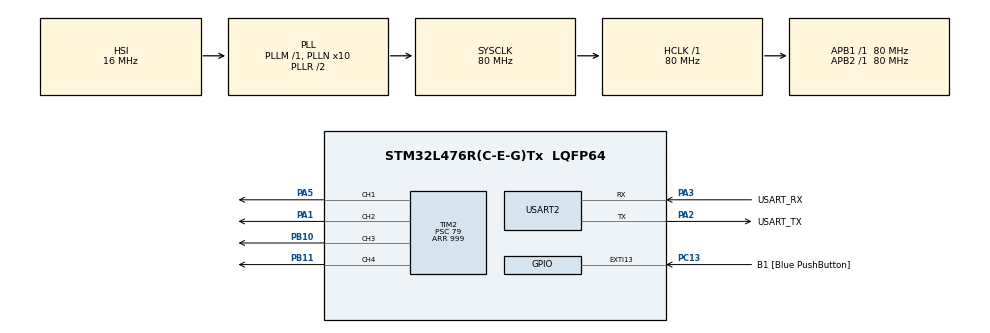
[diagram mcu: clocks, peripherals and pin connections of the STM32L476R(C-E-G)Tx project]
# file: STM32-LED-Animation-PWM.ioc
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Mcu.Family=STM32L4
Mcu.Name=STM32L476R(C-E-G)Tx
Mcu.Package=LQFP64
NVIC.PriorityGroup=NVIC_PRIORITYGROUP_4
PA1.Signal=S_TIM2_CH2
PA13\ (JTMS-SWDIO).GPIO_Label=TMS
PA13\ (JTMS-SWDIO).Mode=Serial_Wire
PA13\ (JTMS-SWDIO).Signal=SYS_JTMS-SWDIO
PA14\ (JTCK-SWCLK).GPIO_Label=TCK
PA14\ (JTCK-SWCLK).Mode=Serial_Wire
PA14\ (JTCK-SWCLK).Signal=SYS_JTCK-SWCLK
PA2.GPIO_Label=USART_TX
PA2.GPIO_Mode=GPIO_MODE_AF_PP
PA2.GPIO_PuPd=GPIO_NOPULL
PA2.GPIO_Speed=GPIO_SPEED_FREQ_VERY_HIGH
PA2.Mode=Asynchronous
PA2.Signal=USART2_TX
PA3.GPIO_Label=USART_RX
PA3.GPIO_Mode=GPIO_MODE_AF_PP
PA3.GPIO_PuPd=GPIO_NOPULL
PA3.GPIO_Speed=GPIO_SPEED_FREQ_VERY_HIGH
PA3.Mode=Asynchronous
PA3.Signal=USART2_RX
PA5.Signal=S_TIM2_CH1
PB10.Signal=S_TIM2_CH3
PB11.Signal=S_TIM2_CH4
PB3\ (JTDO-TRACESWO).GPIO_Label=SWO
PB3\ (JTDO-TRACESWO).Signal=SYS_JTDO-SWO
PC13.GPIO_Label=B1 [Blue PushButton]
PC13.GPIO_ModeDefaultEXTI=GPIO_MODE_IT_FALLING
PC13.GPIO_PuPd=GPIO_NOPULL
PC13.Signal=GPXTI13
PC14-OSC32_IN\ (PC14).Mode=LSE-External-Oscillator
PC14-OSC32_IN\ (PC14).Signal=RCC_OSC32_IN
PC15-OSC32_OUT\ (PC15).Mode=LSE-External-Oscillator
PC15-OSC32_OUT\ (PC15).Signal=RCC_OSC32_OUT
PH0-OSC_IN\ (PH0).Signal=RCC_OSC_IN
PH1-OSC_OUT\ (PH1).Signal=RCC_OSC_OUT
ProjectManager.HeapSize=0x200
ProjectManager.StackSize=0x400
ProjectManager.TargetToolchain=STM32CubeIDE
RCC.ADCFreq_Value=64000000
RCC.AHBFreq_Value=80000000
RCC.APB1Freq_Value=80000000
RCC.APB1TimFreq_Value=80000000
RCC.APB2Freq_Value=80000000
RCC.APB2TimFreq_Value=80000000
RCC.CortexFreq_Value=80000000
RCC.HCLKFreq_Value=80000000
RCC.HSE_VALUE=8000000
RCC.HSI_VALUE=16000000
RCC.MSI_VALUE=4000000
RCC.PLLN=10
RCC.PLLSourceVirtual=RCC_PLLSOURCE_HSI
RCC.PREFETCH_ENABLE=1
RCC.SYSCLKFreq_VALUE=80000000
RCC.SYSCLKSource=RCC_SYSCLKSOURCE_PLLCLK
RCC.USBFreq_Value=64000000
RCC.VCOOutputFreq_Value=160000000
SH.S_TIM2_CH1.0=TIM2_CH1,PWM Generation1 CH1
SH.S_TIM2_CH2.0=TIM2_CH2,PWM Generation2 CH2
SH.S_TIM2_CH3.0=TIM2_CH3,PWM Generation3 CH3
SH.S_TIM2_CH4.0=TIM2_CH4,Output Compare4 CH4
TIM2.Channel-Output\ Compare4\ CH4=TIM_CHANNEL_4
TIM2.Channel-PWM\ Generation1\ CH1=TIM_CHANNEL_1
TIM2.Channel-PWM\ Generation2\ CH2=TIM_CHANNEL_2
TIM2.Channel-PWM\ Generation3\ CH3=TIM_CHANNEL_3
TIM2.OCPolarity_1=TIM_OCPOLARITY_LOW
TIM2.OCPolarity_2=TIM_OCPOLARITY_LOW
TIM2.OCPolarity_3=TIM_OCPOLARITY_LOW
TIM2.OCPolarity_4=TIM_OCPOLARITY_LOW
TIM2.Period=999
TIM2.Prescaler=79
USART2.VirtualMode-Asynchronous=VM_ASYNC
VP_TIM2_VS_ClockSourceINT.Mode=Internal
board=NUCLEO-L476RG

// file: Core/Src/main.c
/* USER CODE BEGIN Header */
/**
 ******************************************************************************
 * @file           : main.c
 * @brief          : Main program body
 ******************************************************************************
 * @attention
 *
 * Copyright (c) 2024 STMicroelectronics.
 * All rights reserved.
 *
 * This software is licensed under terms that can be found in the LICENSE file
 * in the root directory of this software component.
 * If no LICENSE file comes with this software, it is provided AS-IS.
 *
 ******************************************************************************
 */
/* USER CODE END Header */
#include "main.h"

/* USER CODE BEGIN Includes */
#include "led_animation.h"
#include "led_transition_manager.h"
/* USER CODE END Includes */

TIM_HandleTypeDef htim2;

UART_HandleTypeDef huart2;

/* USER CODE BEGIN PV */

#define DEBUG_BUFFER_SIZE 100
#include <stdarg.h>
#include <stdio.h>
#include <string.h>

// Custom printf-like function
// void UART_printf(const char* fmt, ...)
// {
//     char     buffer[DEBUG_BUFFER_SIZE];
//     uint32_t timestamp = HAL_GetTick();
//     va_list  args;
//     va_start(args, fmt);
//     vsnprintf(buffer, DEBUG_BUFFER_SIZE, fmt, args);
//     va_end(args);
//     HAL_UART_Transmit(&huart2, (uint8_t*)buffer, strlen(buffer), HAL_MAX_DELAY);
// }

void UART_printf(const char* fmt, ...)
{
    char     buffer[DEBUG_BUFFER_SIZE];
    char     timestampBuffer[20];       // Buffer to hold the timestamp string
    uint32_t timestamp = HAL_GetTick(); // Get the current tick count (milliseconds)

    // Create a formatted string with the timestamp at the beginning
    snprintf(timestampBuffer, sizeof(timestampBuffer), "[%lu ms] ", timestamp);

    // Append the timestamp to the message buffer
    strncpy(buffer, timestampBuffer, sizeof(buffer)); // Copy timestamp to buffer

    // Prepare the rest of the message
    va_list args;
    va_start(args, fmt);
    vsnprintf(buffer + strlen(timestampBuffer), DEBUG_BUFFER_SIZE - strlen(timestampBuffer), fmt,
              args); // Append the formatted message to buffer
    va_end(args);

    // Transmit the complete message with timestamp over UART
    HAL_UART_Transmit(&huart2, (uint8_t*)buffer, strlen(buffer), HAL_MAX_DELAY);
}

void PWM_SetDutyCycle_CH1(uint16_t dutyCycle)
{
    // PA5
    __HAL_TIM_SET_COMPARE(&htim2, TIM_CHANNEL_1, dutyCycle);
}

void PWM_SetDutyCycle_CH2(uint16_t dutyCycle)
{
    // PA1
    __HAL_TIM_SET_COMPARE(&htim2, TIM_CHANNEL_2, dutyCycle);
}

void PWM_SetDutyCycle_CH3(uint16_t dutyCycle)
{
    // PB10
    __HAL_TIM_SET_COMPARE(&htim2, TIM_CHANNEL_3, dutyCycle);
}

void PWM_SetDutyCycle_CH4(uint16_t dutyCycle)
{
    // PB11
    __HAL_TIM_SET_COMPARE(&htim2, TIM_CHANNEL_4, dutyCycle);
}

void PWM_Start(void)
{
    HAL_TIM_PWM_Start(&htim2, TIM_CHANNEL_1);
    HAL_TIM_PWM_Start(&htim2, TIM_CHANNEL_2);
    HAL_TIM_PWM_Start(&htim2, TIM_CHANNEL_3);
    HAL_TIM_PWM_Start(&htim2, TIM_CHANNEL_4);
}

void PWM_Stop(void)
{
    HAL_TIM_PWM_Stop(&htim2, TIM_CHANNEL_1);
    HAL_TIM_PWM_Stop(&htim2, TIM_CHANNEL_2);
    HAL_TIM_PWM_Stop(&htim2, TIM_CHANNEL_3);
    HAL_TIM_PWM_Stop(&htim2, TIM_CHANNEL_4);
}

#define MAX_DUTY_CYCLE 1000

// Initialize RGB configuration with function pointers
// PWM_Single_t ledPwmConfig = {
//     .led = {.setDutyCycle = PWM_SetDutyCycle_CH1}
// };

// PWM_Dual_t ledPwmConfig = {
//     .led1 = {.setDutyCycle = PWM_SetDutyCycle_CH1},
//     .led2 = {.setDutyCycle = PWM_SetDutyCycle_CH2}
// };

PWM_RGB_t ledPwmConfig = {
    .Red   = {.setDutyCycle = PWM_SetDutyCycle_CH1},
    .Green = {.setDutyCycle = PWM_SetDutyCycle_CH2},
    .Blue  = {.setDutyCycle = PWM_SetDutyCycle_CH3},
};

// Initialize LED Color Full Brightness
// const DualColor_t Color = {.Color1 = 255, .Color2 = 255};

const RGB_Color_t Color2 = {.R = 0, .G = 255, .B = 255};

const RGB_Color_t Color = {.R = 0, .G = 0, .B = 255};

// Initialize LED Controller with function pointers
LED_Controller_t LEDController = {.Start        = PWM_Start,
                                  .Stop         = PWM_Stop,
                                  .PwmConfig    = &ledPwmConfig,
                                  .LedType      = LED_TYPE_RGB,
                                  .MaxDutyCycle = MAX_DUTY_CYCLE};

const RGB_Color_t Red    = {.R = 255, .G = 0, .B = 0};
const RGB_Color_t Green  = {.R = 0, .G = 255, .B = 0};
const RGB_Color_t Blue   = {.R = 0, .G = 0, .B = 255};
const RGB_Color_t Purple = {.R = 255, .G = 0, .B = 255};
const RGB_Color_t Yellow = {.R = 255, .G = 255, .B = 0};
const RGB_Color_t Cyan   = {.R = 0, .G = 255, .B = 255};

// Initialize Flash Animation
const LED_Animation_Flash_t globalFlashConfig = {
    .color       = &Red,
    .onTimeMs    = 100,
    .offTimeMs   = 300,
    .repeatTimes = -1 // Repeat ten times
};

const LED_Animation_Blink_t globalBlinkConfig = {
    .color       = &Cyan,
    .periodMs    = 500,
    .repeatTimes = 20 // Repeat ten times
};

const LED_Animation_Solid_t globalSolidConfig = {
    .color           = &Purple,
    .executionTimeMs = 0,
};

const LED_Animation_Breath_t globalBreathConfig = {
    .color = &Yellow, .riseTimeMs = 500, .fallTimeMs = 1000, .repeatTimes = -1, .invert = true};

const LED_Animation_Breath_t globalBreath2Config = {
    .color = &Green, .riseTimeMs = 1000, .fallTimeMs = 1000, .repeatTimes = 5, .invert = false};

const LED_Animation_FadeIn_t globalFadeInConfig = {.color = &Color, .durationMs = 1000, .repeatTimes = 1};

const LED_Animation_FadeOut_t globalFadeOutConfig = {.color = &Color, .durationMs = 1000, .repeatTimes = 1};

const LED_Animation_Pulse_t globalPulseConfig = {
    .color         = &Cyan,
    .riseTimeMs    = 300,
    .holdOnTimeMs  = 200,
    .fallTimeMs    = 300,
    .holdOffTimeMs = 200,
    .repeatTimes   = 10,
};

static const void* AlternatingColors[] = {&Red, &Green, &Blue, &Purple, &Yellow, &Cyan};

// Initialize the alternating colors animation
const LED_Animation_AlternatingColors_t globalAlternatingColorsConfig = {
    .colors      = (void*)AlternatingColors,
    .colorCount  = sizeof(AlternatingColors) / sizeof(AlternatingColors[0]),
    .durationMs  = 1000, // 500 ms for each color
    .repeatTimes = 2,    // Repeat 3 times
};

const LED_Animation_ColorCycle_t globalColorCycleConfig = {.colors = (void*)AlternatingColors,
                                                           .colorCount =
                                                               sizeof(AlternatingColors) / sizeof(AlternatingColors[0]),
                                                           .transitionMs   = 300,
                                                           .holdTimeMs     = 700,
                                                           .repeatTimes    = 2,
                                                           .leaveLastColor = true};

// Global LED Handle for RGB LED
LED_Handle_t            MyLed;
LED_Transition_Handle_t TransitionsHandle;

#define MAX_TRANSITIONS (9)
const LED_Transition_Config_t transitionMapping[MAX_TRANSITIONS] = {

    {.StartAnim      = &globalSolidConfig,
     .TargetAnim     = &globalFlashConfig,
     .TransitionType = LED_TRANSITION_INTERPOLATE,
     .Duration       = 200},

    {.StartAnim      = &globalBreathConfig,
     .TargetAnim     = &globalBreath2Config,
     .TransitionType = LED_TRANSITION_INTERPOLATE},

    {.StartAnim      = &globalBreath2Config,
     .TargetAnim     = &globalBlinkConfig,
     .TransitionType = LED_TRANSITION_AT_CLEAN_ENTRY},

    {.StartAnim = &globalBlinkConfig, .TargetAnim = &globalSolidConfig, .TransitionType = LED_TRANSITION_INTERPOLATE},
    {.StartAnim      = &globalSolidConfig,
     .TargetAnim     = &globalBlinkConfig,
     .TransitionType = LED_TRANSITION_INTERPOLATE,
     .Duration       = 200},

    {.StartAnim = &globalBlinkConfig, .TargetAnim = &globalBreath2Config, .TransitionType = LED_TRANSITION_INTERPOLATE},
    {.StartAnim      = &globalBreath2Config,
     .TargetAnim     = &globalBreathConfig,
     .TransitionType = LED_TRANSITION_INTERPOLATE},

    {.StartAnim = &globalBreathConfig, .TargetAnim = &globalPulseConfig, .TransitionType = LED_TRANSITION_INTERPOLATE},
    {.StartAnim = &globalPulseConfig, .TargetAnim = &globalFlashConfig, .TransitionType = LED_TRANSITION_INTERPOLATE},

};

const char* LED_GetAnimationName(const void* Animation)
{
    if (Animation == &globalFlashConfig)
    {
        return "Flash";
    }
    else if (Animation == &globalBlinkConfig)
    {
        return "Blink";
    }
    else if (Animation == &globalSolidConfig)
    {
        return "Solid";
    }
    else if (Animation == &globalBreathConfig)
    {
        return "Breath";
    }
    else if (Animation == &globalBreath2Config)
    {
        return "Breath2";
    }
    else if (Animation == &globalFadeInConfig)
    {
        return "FadeIn";
    }
    else if (Animation == &globalFadeOutConfig)
    {
        return "FadeOut";
    }
    else if (Animation == &globalPulseConfig)
    {
        return "Pulse";
    }
    else if (Animation == &globalAlternatingColorsConfig)
    {
        return "AlternatingColors";
    }
    else if (Animation == &globalColorCycleConfig)
    {
        return "ColorCycle";
    }
    else if (Animation == NULL)
    {
        return "Off";
    }
    else
    {
        return "Unknown";
    }
}

/** @brief Array of LED animation type names for debugging purposes. */
const char* LED_AnimationTypeNames[] = {
    "Type INVALID",            // LED_ANIMATION_TYPE_INVALID
    "Type None",               // LED_ANIMATION_TYPE_NONE
    "Type Off",                // LED_ANIMATION_TYPE_OFF
    "Type Solid",              // LED_ANIMATION_TYPE_SOLID
    "Type Blink",              // LED_ANIMATION_TYPE_BLINK
    "Type Flash",              // LED_ANIMATION_TYPE_FLASH
    "Type Breath",             // LED_ANIMATION_TYPE_BREATH
    "Type Pulse",              // LED_ANIMATION_TYPE_PULSE
    "Type Fade In",            // LED_ANIMATION_TYPE_FADE_IN
    "Type Fade Out",           // LED_ANIMATION_TYPE_FADE_OUT
    "Type Alternating Colors", // LED_ANIMATION_TYPE_ALTERNATING_COLORS
    "Type Color Cycle"         // LED_ANIMATION_TYPE_COLOR_CYCLE
};

void LED_Complete_Callback(LED_Animation_Type_t animationType, LED_Status_t status, const void* Animation)
{
    // Print a separator for clarity in the output
    // Switch statement to handle different status cases
    switch (status)
    {
    case LED_STATUS_ANIMATION_STARTED:

        UART_printf("Animation [%s] Started : %s\r\n", LED_AnimationTypeNames[animationType],
                    LED_GetAnimationName(Animation));
        break;

    case LED_STATUS_ANIMATION_COMPLETED:
        UART_printf("Animation [%s] Completed : %s\r\n", LED_AnimationTypeNames[animationType],
                    LED_GetAnimationName(Animation));
        break;

    case LED_STATUS_ANIMATION_STOPPED:
        UART_printf("Animation [%s] Stopped : %s\r\n", LED_AnimationTypeNames[animationType],
                    LED_GetAnimationName(Animation));
        break;

    case LED_STATUS_ANIMATION_TRANSITION_STARTED:
        UART_printf("----------------------------------------------------------------\r\n");

        UART_printf("Animation [%s] Transition Started : %s\r\n", LED_AnimationTypeNames[animationType],
                    LED_GetAnimationName(Animation));
        break;

    case LED_STATUS_ANIMATION_TRANSITION_COMPLETED:
        UART_printf("Animation [%s] Transition Completed : %s\r\n", LED_AnimationTypeNames[animationType],
                    LED_GetAnimationName(Animation));
        break;

    case LED_STATUS_ANIMATION_TRANSITION_SKIPPED:
        UART_printf("Animation [%s] Transition Skipped : %s\r\n", LED_AnimationTypeNames[animationType],
                    LED_GetAnimationName(Animation));
        break;

    default:
        if (IS_LED_ERROR_STATUS(status))
        {
            UART_printf("Animation [%s] Failed, Error %d\r\n", LED_AnimationTypeNames[animationType], status);
        }
        else
        {
            UART_printf("Animation [%s] Unknown Status %d\r\n", LED_AnimationTypeNames[animationType], status);
        }
        break;
    }

    // Print a separator to mark the end of the message
}

void InitDWT(void)
{
    CoreDebug->DEMCR |= CoreDebug_DEMCR_TRCENA_Msk; // Enable the trace and debug blocks
    DWT->CTRL |= DWT_CTRL_CYCCNTENA_Msk;            // Enable the cycle count
    DWT->CYCCNT = 0;                                // Reset the cycle counter
}

/* USER CODE END PV */

void        SystemClock_Config(void);
static void MX_GPIO_Init(void);
static void MX_USART2_UART_Init(void);
static void MX_TIM2_Init(void);

#if 1
int main(void)
{

    /* MCU
     * Configuration--------------------------------------------------------*/

    /* Reset of all peripherals, Initializes the Flash interface and the
     * Systick. */
    HAL_Init();

    /* Configure the system clock */
    SystemClock_Config();

    /* Initialize all configured peripherals */
    MX_GPIO_Init();
    MX_USART2_UART_Init();
    MX_TIM2_Init();
    /* USER CODE BEGIN 2 */
    InitDWT();

    // Initialize the LED Handle with the controller, LED type
    LED_Animation_Init(&MyLed, &LEDController, LED_Complete_Callback);

    // Intialize the LED Transition Handle
    LED_Transition_init(&TransitionsHandle, &MyLed);

    // Set the blink animation for the single LED
    //    LED_Animation_SetSolid(&MyLed, &globalSolidConfig);
    // LED_Animation_SetFlash(&MyLed, &globalFlashConfig);
    // LED_Animation_SetBlink(&MyLed, &globalBlinkConfig);
    // LED_Animation_SetFadeIn(&MyLed, &globalFadeInConfig);
    // LED_Animation_SetFadeOut(&MyLed, &globalFadeOutConfig);
    // LED_Animation_SetBreath(&MyLed, &globalBreathConfig);
    // LED_Animation_SetPulse(&MyLed, &globalPulseConfig);
    // LED_Animation_SetAlternatingColors(&MyLed, &globalAlternatingColorsConfig);
    // LED_Animation_SetColorCycle(&MyLed, &globalColorCycleConfig);

    // LED_Transition_SetMapping(&TransitionsHandle, transitionMapping, MAX_TRANSITIONS);

    // LED_Animation_Start(&MyLed);

    /* USER CODE END 2 */
    static uint32_t lastTick = 0;
    bool            send     = false;
    uint8_t         counter  = 0;
    /* Infinite loop */
    /* USER CODE BEGIN WHILE */

    // LED_Transition_ExecAnimation(&TransitionsHandle, &globalColorCycleConfig, LED_ANIMATION_TYPE_COLOR_CYCLE);

    // LED_Transition_ExecAnimation(&TransitionsHandle, &globalSolidConfig, LED_ANIMATION_TYPE_SOLID);

    // LED_Transition_ToPulse(&TransitionsHandle, &globalPulseConfig, LED_TRANSITION_INTERPOLATE, 200);
    // LED_Transition_ToPulse(&TransitionsHandle, &globalPulseConfig, LED_TRANSITION_IMMINENT, 0);
    // LED_Transition_ToBlink(&TransitionsHandle, &globalBlinkConfig, LED_TRANSITION_IMMINENT, 0);

    while (1)
    {
        // LED_Transition_ToPulse(&TransitionsHandle, &globalPulseConfig, LED_TRANSITION_IMMINENT, 0);
        // LED_Transition_ToSolid(&TransitionsHandle, &globalSolidConfig, LED_TRANSITION_IMMINENT, 0);
        // LED_Transition_ToBlink(&TransitionsHandle, &globalBlinkConfig, LED_TRANSITION_IMMINENT, 0);
        // LED_Transition_ToColorCycle(&TransitionsHandle, &globalColorCycleConfig, LED_TRANSITION_INTERPOLATE, 300);

        /* USER CODE END WHILE */

        /* USER CODE BEGIN 3 */
        // LED_Animation_Update(&MyLed, HAL_GetTick());
        LED_Transition_update(&TransitionsHandle, HAL_GetTick());

#if 1

        if (HAL_GetTick() - lastTick > 5000)
        {
            lastTick = HAL_GetTick();

            switch (counter)
            {
            case 0:
                // Start the LED Animation
                LED_Transition_executeWithMap(&TransitionsHandle, &globalSolidConfig, LED_ANIMATION_TYPE_SOLID);
                break;
            case 1:
                // Transition from solid to breath
                LED_Transition_executeWithMap(&TransitionsHandle, &globalBlinkConfig, LED_ANIMATION_TYPE_BLINK);
                break;
            case 2:
                // Transition from breath to breath2
                LED_Transition_executeWithMap(&TransitionsHandle, &globalBreath2Config, LED_ANIMATION_TYPE_BREATH);
                break;
            case 3:
                // Transition from breath2 to blink
                LED_Transition_executeWithMap(&TransitionsHandle, &globalBreathConfig, LED_ANIMATION_TYPE_BREATH);
                break;
            case 4:
                // Transition from blink to solid
                LED_Transition_executeWithMap(&TransitionsHandle, &globalPulseConfig, LED_ANIMATION_TYPE_PULSE);
                break;
            case 5:
                LED_Transition_executeWithMap(&TransitionsHandle, &globalFlashConfig, LED_ANIMATION_TYPE_FLASH);
                break;
            case 6:
                LED_Transition_executeWithMap(&TransitionsHandle, &globalAlternatingColorsConfig,
                                              LED_ANIMATION_TYPE_ALTERNATING_COLORS);
                break;
            case 7:
                LED_Transition_executeWithMap(&TransitionsHandle, &globalColorCycleConfig,
                                              LED_ANIMATION_TYPE_COLOR_CYCLE);
                break;
            case 8:
                LED_Transition_toOff(&TransitionsHandle, LED_TRANSITION_INTERPOLATE, 200);
                break;
            case 9:
                UART_printf("Check if LED is off\r\n");
                if (LED_Transition_IsLEDOff(&TransitionsHandle))
                {
                    UART_printf("LED is off\r\n");
                }
                LED_Transition_toOff(&TransitionsHandle, LED_TRANSITION_INTERPOLATE, 200);
                break;

            case 10:
                LED_Transition_toPulse(&TransitionsHandle, &globalPulseConfig, LED_TRANSITION_INTERPOLATE, 200);
                break;
            case 11:
                LED_Transition_toPulse(&TransitionsHandle, &globalPulseConfig, LED_TRANSITION_IMMINENT, 0);
                break;
            case 12:
                LED_Status_t status = LED_STATUS_SUCCESS;
                UART_printf("Transition to Blink\r\n");
                status =
                    LED_Transition_toBlink(&TransitionsHandle, &globalBlinkConfig, LED_TRANSITION_INTERPOLATE, 500);

                if (status != LED_STATUS_SUCCESS)
                {
                    UART_printf("Error %d\r\n", status);
                }
                else
                {
                    UART_printf("Success\r\n");
                }

                UART_printf("Transition to Solid\r\n");
                status =
                    LED_Transition_toSolid(&TransitionsHandle, &globalSolidConfig, LED_TRANSITION_INTERPOLATE, 500);
                if (status != LED_STATUS_SUCCESS)
                {
                    UART_printf("Error %d\r\n", status);
                }
                else
                {
                    UART_printf("Success\r\n");
                }

                UART_printf("Force Stop Transition\r\n");
                LED_Transition_stop(&TransitionsHandle);

                UART_printf("Transition to Flash\r\n");
                status =
                    LED_Transition_toFlash(&TransitionsHandle, &globalFlashConfig, LED_TRANSITION_INTERPOLATE, 500);
                if (status != LED_STATUS_SUCCESS)
                {
                    UART_printf("Error %d\r\n", status);
                }
                else
                {
                    UART_printf("Success\r\n");
                }

                break;

            default:
                break;
            }

            counter = (counter + 1) % 13;
        }
#endif
    }
    /* USER CODE END 3 */
}
#else
#include "pwm_led.h"

PWMLED_Handle_t pwmLedHandle;

// Command the LED to breath
PWMLED_Breath_Handle_t breathCmd = {.Duty = 255, .PeriodTicks = 1000, .HoldInTicks = 200, .HoldOutTicks = 200};

void updateHardwarePWMDuty(uint16_t dutyValue)
{
    __HAL_TIM_SET_COMPARE(&htim2, TIM_CHANNEL_1, dutyValue);
}

int main(void)
{

    /* MCU
     * Configuration--------------------------------------------------------*/

    /* Reset of all peripherals, Initializes the Flash interface and the
     * Systick. */
    HAL_Init();

    /* Configure the system clock */
    SystemClock_Config();

    /* Initialize all configured peripherals */
    MX_GPIO_Init();
    MX_USART2_UART_Init();
    MX_TIM2_Init();
    /* USER CODE BEGIN 2 */
    InitDWT();

    pwmLedHandle.MaxPulse     = 1000;            // Set according to your PWM resolution
    pwmLedHandle.ActiveConfig = LED_Active_HIGH; // Set this based on your LED configuration

    PWMLED_Init(&pwmLedHandle);

    PWMLED_Command_Breath(&pwmLedHandle, &breathCmd, true);

    PWM_Start();

    /* Infinite loop */
    /* USER CODE BEGIN WHILE */
    while (1)
    {
        updateHardwarePWMDuty(pwmLedHandle.PWMDuty);

        /* USER CODE END 3 */
    }
}
#endif

void SystemClock_Config(void)
{
    RCC_OscInitTypeDef RCC_OscInitStruct = {0};
    RCC_ClkInitTypeDef RCC_ClkInitStruct = {0};

    /** Configure the main internal regulator output voltage
     */
    if (HAL_PWREx_ControlVoltageScaling(PWR_REGULATOR_VOLTAGE_SCALE1) != HAL_OK)
    {
        Error_Handler();
    }

    /** Initializes the RCC Oscillators according to the specified parameters
     * in the RCC_OscInitTypeDef structure.
     */
    RCC_OscInitStruct.OscillatorType      = RCC_OSCILLATORTYPE_HSI;
    RCC_OscInitStruct.HSIState            = RCC_HSI_ON;
    RCC_OscInitStruct.HSICalibrationValue = RCC_HSICALIBRATION_DEFAULT;
    RCC_OscInitStruct.PLL.PLLState        = RCC_PLL_ON;
    RCC_OscInitStruct.PLL.PLLSource       = RCC_PLLSOURCE_HSI;
    RCC_OscInitStruct.PLL.PLLM            = 1;
    RCC_OscInitStruct.PLL.PLLN            = 10;
    RCC_OscInitStruct.PLL.PLLP            = RCC_PLLP_DIV7;
    RCC_OscInitStruct.PLL.PLLQ            = RCC_PLLQ_DIV2;
    RCC_OscInitStruct.PLL.PLLR            = RCC_PLLR_DIV2;
    if (HAL_RCC_OscConfig(&RCC_OscInitStruct) != HAL_OK)
    {
        Error_Handler();
    }

    /** Initializes the CPU, AHB and APB buses clocks
     */
    RCC_ClkInitStruct.ClockType = RCC_CLOCKTYPE_HCLK | RCC_CLOCKTYPE_SYSCLK | RCC_CLOCKTYPE_PCLK1 | RCC_CLOCKTYPE_PCLK2;
    RCC_ClkInitStruct.SYSCLKSource   = RCC_SYSCLKSOURCE_PLLCLK;
    RCC_ClkInitStruct.AHBCLKDivider  = RCC_SYSCLK_DIV1;
    RCC_ClkInitStruct.APB1CLKDivider = RCC_HCLK_DIV1;
    RCC_ClkInitStruct.APB2CLKDivider = RCC_HCLK_DIV1;

    if (HAL_RCC_ClockConfig(&RCC_ClkInitStruct, FLASH_LATENCY_4) != HAL_OK)
    {
        Error_Handler();
    }
}

static void MX_TIM2_Init(void)
{

    TIM_ClockConfigTypeDef  sClockSourceConfig = {0};
    TIM_MasterConfigTypeDef sMasterConfig      = {0};
    TIM_OC_InitTypeDef      sConfigOC          = {0};

    htim2.Instance               = TIM2;
    htim2.Init.Prescaler         = 79;
    htim2.Init.CounterMode       = TIM_COUNTERMODE_UP;
    htim2.Init.Period            = 999;
    htim2.Init.ClockDivision     = TIM_CLOCKDIVISION_DIV1;
    htim2.Init.AutoReloadPreload = TIM_AUTORELOAD_PRELOAD_DISABLE;
    if (HAL_TIM_Base_Init(&htim2) != HAL_OK)
    {
        Error_Handler();
    }
    sClockSourceConfig.ClockSource = TIM_CLOCKSOURCE_INTERNAL;
    if (HAL_TIM_ConfigClockSource(&htim2, &sClockSourceConfig) != HAL_OK)
    {
        Error_Handler();
    }
    if (HAL_TIM_PWM_Init(&htim2) != HAL_OK)
    {
        Error_Handler();
    }
    if (HAL_TIM_OC_Init(&htim2) != HAL_OK)
    {
        Error_Handler();
    }
    sMasterConfig.MasterOutputTrigger = TIM_TRGO_RESET;
    sMasterConfig.MasterSlaveMode     = TIM_MASTERSLAVEMODE_DISABLE;
    if (HAL_TIMEx_MasterConfigSynchronization(&htim2, &sMasterConfig) != HAL_OK)
    {
        Error_Handler();
    }
    sConfigOC.OCMode     = TIM_OCMODE_PWM1;
    sConfigOC.Pulse      = 0;
    sConfigOC.OCPolarity = TIM_OCPOLARITY_LOW;
    sConfigOC.OCFastMode = TIM_OCFAST_DISABLE;
    if (HAL_TIM_PWM_ConfigChannel(&htim2, &sConfigOC, TIM_CHANNEL_1) != HAL_OK)
    {
        Error_Handler();
    }
    if (HAL_TIM_PWM_ConfigChannel(&htim2, &sConfigOC, TIM_CHANNEL_2) != HAL_OK)
    {
        Error_Handler();
    }
    if (HAL_TIM_PWM_ConfigChannel(&htim2, &sConfigOC, TIM_CHANNEL_3) != HAL_OK)
    {
        Error_Handler();
    }
    sConfigOC.OCMode = TIM_OCMODE_TIMING;
    if (HAL_TIM_OC_ConfigChannel(&htim2, &sConfigOC, TIM_CHANNEL_4) != HAL_OK)
    {
        Error_Handler();
    }
    HAL_TIM_MspPostInit(&htim2);
}

static void MX_USART2_UART_Init(void)
{

    huart2.Instance                    = USART2;
    huart2.Init.BaudRate               = 115200;
    huart2.Init.WordLength             = UART_WORDLENGTH_8B;
    huart2.Init.StopBits               = UART_STOPBITS_1;
    huart2.Init.Parity                 = UART_PARITY_NONE;
    huart2.Init.Mode                   = UART_MODE_TX_RX;
    huart2.Init.HwFlowCtl              = UART_HWCONTROL_NONE;
    huart2.Init.OverSampling           = UART_OVERSAMPLING_16;
    huart2.Init.OneBitSampling         = UART_ONE_BIT_SAMPLE_DISABLE;
    huart2.AdvancedInit.AdvFeatureInit = UART_ADVFEATURE_NO_INIT;
    if (HAL_UART_Init(&huart2) != HAL_OK)
    {
        Error_Handler();
    }
}

static void MX_GPIO_Init(void)
{
    GPIO_InitTypeDef GPIO_InitStruct = {0};

    /* GPIO Ports Clock Enable */
    __HAL_RCC_GPIOC_CLK_ENABLE();
    __HAL_RCC_GPIOH_CLK_ENABLE();
    __HAL_RCC_GPIOA_CLK_ENABLE();
    __HAL_RCC_GPIOB_CLK_ENABLE();

    /*Configure GPIO pin : B1_Pin */
    GPIO_InitStruct.Pin  = B1_Pin;
    GPIO_InitStruct.Mode = GPIO_MODE_IT_FALLING;
    GPIO_InitStruct.Pull = GPIO_NOPULL;
    HAL_GPIO_Init(B1_GPIO_Port, &GPIO_InitStruct);

}

void Error_Handler(void)
{
    /* USER CODE BEGIN Error_Handler_Debug */
    /* User can add his own implementation to report the HAL error return state
     */
    __disable_irq();
    while (1)
    {
    }
    /* USER CODE END Error_Handler_Debug */
}

#ifdef USE_FULL_ASSERT
/**
 * @brief  Reports the name of the source file and the source line number
 *         where the assert_param error has occurred.
 * @param  file: pointer to the source file name
 * @param  line: assert_param error line source number
 * @retval None
 */
void assert_failed(uint8_t* file, uint32_t line)
{
    /* USER CODE BEGIN 6 */
    /* User can add his own implementation to report the file name and line
       number, ex: printf("Wrong parameters value: file %s on line %d\r\n",
       file, line) */
    /* USER CODE END 6 */
}
#endif /* USE_FULL_ASSERT */
